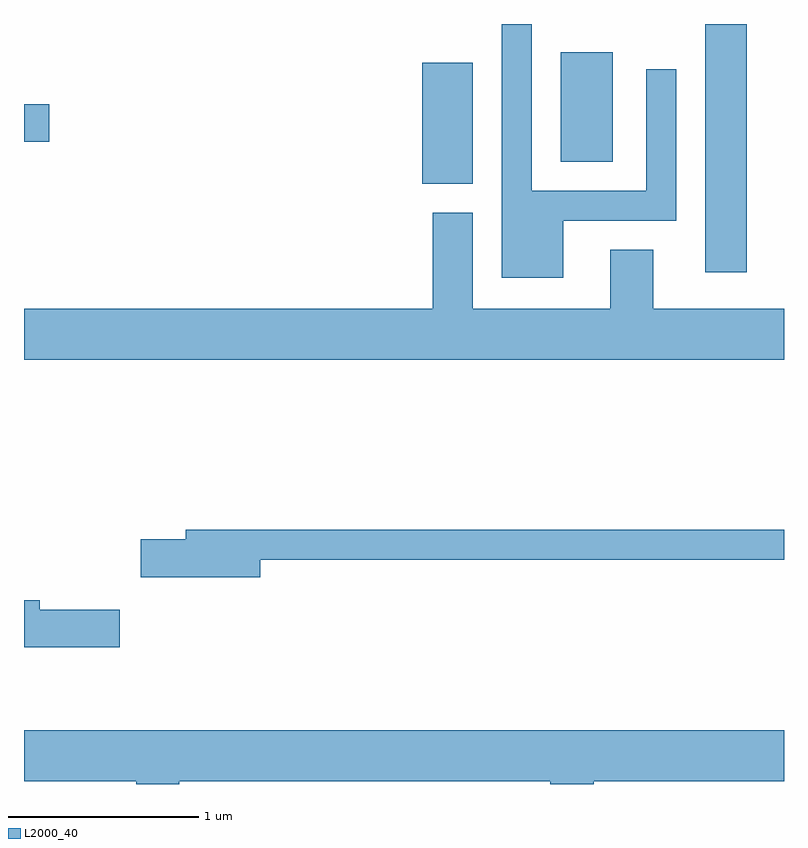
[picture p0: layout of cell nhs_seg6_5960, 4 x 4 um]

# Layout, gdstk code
import gdstk
lib = gdstk.Library(unit=1e-6, precision=1e-09)
def R(c, l, rs):  # rectangles x0, y0, x1, y1
    for r in rs: c.add(gdstk.rectangle(r[:2], r[2:], *l))
def P(c, l, *ps):  # polygons
    for p in ps: c.add(gdstk.Polygon(p, *l))
L2000_40 = (2000, 40)

nhs_seg6_5960 = lib.new_cell('nhs_seg6_5960')
R(nhs_seg6_5960, L2000_40, [(369.196,1634.856,369.414,1636.162), (367.706,1635.321,367.974,1635.959), (368.436,1635.436,368.709,1636.014), (365.611,1635.541,365.744,1635.739)])
P(nhs_seg6_5960, L2000_40, [(368.449,1635.126),(369.044,1635.126),(369.044,1635.923),(368.886,1635.923),(368.886,1635.284),(368.284,1635.284),(368.284,1636.162),(368.126,1636.162),(368.126,1634.826),(368.449,1634.826)],
  [(369.611,1634.664),(368.924,1634.664),(368.924,1634.974),(368.696,1634.974),(368.696,1634.664),(367.974,1634.664),(367.974,1635.169),(367.761,1635.169),(367.761,1634.664),(365.611,1634.664),(365.611,1634.396),(369.611,1634.396)],
  [(366.854,1633.341),(369.611,1633.341),(369.611,1633.499),(366.461,1633.499),(366.461,1633.449),(366.226,1633.449),(366.226,1633.251),(366.854,1633.251)],
  [(366.114,1633.079),(365.694,1633.079),(365.694,1633.129),(365.611,1633.129),(365.611,1632.881),(366.114,1632.881)],
  [(366.429,1632.176),(368.381,1632.176),(368.381,1632.162),(368.609,1632.162),(368.609,1632.176),(369.611,1632.176),(369.611,1632.444),(365.611,1632.444),(365.611,1632.176),(366.201,1632.176),(366.201,1632.162),(366.429,1632.162)])

lib.write_gds('nhs_seg6_5960.gds')
